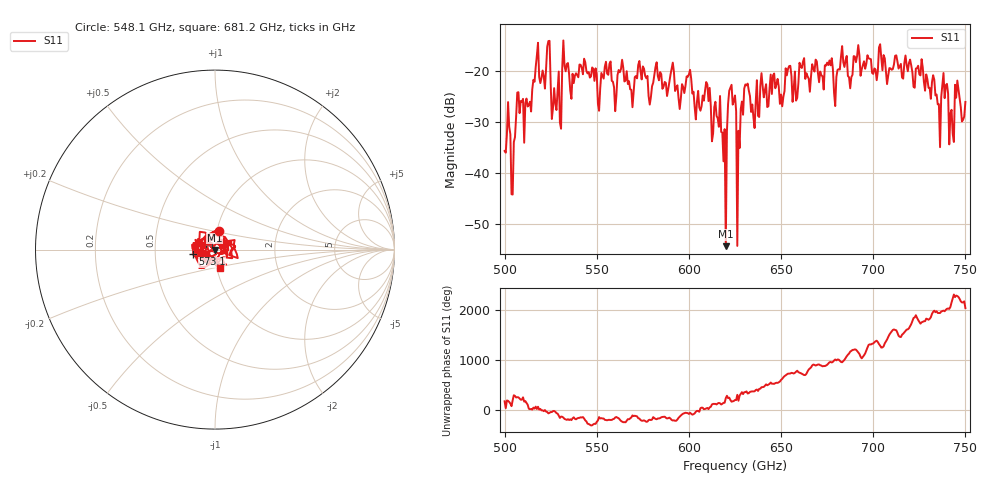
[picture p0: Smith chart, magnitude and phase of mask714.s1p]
!Created with skrf (http://scikit-rf.org).
# GHz S MA R 50.0
!freq magS11 angS11
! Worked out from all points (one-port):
!   401 points, 500 GHz to 750 GHz, reference 50 ohm
!   lowest |S11| = -54.5 dB at 620 GHz (marker M1), VSWR 1.00, Z = 49.9 - j0.16 ohm
!   |S11| at or under -10 dB: start of sweep to end of sweep
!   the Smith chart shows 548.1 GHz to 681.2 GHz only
!   S11 on the Smith chart (normalised r, x): 548.1 GHz: 1.03, +0.21; 573.1 GHz: 0.78, -0.04; 681.2 GHz: 1.04, -0.21
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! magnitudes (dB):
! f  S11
! 500 GHz  -35.7
! 504.4 GHz  -44.3
! 507.5 GHz  -24.1
! 511.9 GHz  -25.4
! 516.9 GHz  -19.1
! 523.8 GHz  -14.0
! 526.9 GHz  -23.3
! 531.2 GHz  -19.4
! 548.1 GHz  -19.5
! 562.5 GHz  -20.2
! 573.1 GHz  -17.9
! 593.8 GHz  -22.7
! 610 GHz  -22.6
! 620 GHz  -54.5
! 622.5 GHz  -23.2
! 625 GHz  -24.7
! 627.5 GHz  -35.1
! 631.2 GHz  -22.7
! 635 GHz  -29.0
! 656.2 GHz  -26.0
! 681.2 GHz  -19.6
! 687.5 GHz  -23.3
! 718.8 GHz  -20.0
! 735 GHz  -26.5
! 738.8 GHz  -25.3
! 742.5 GHz  -27.6
! 745.6 GHz  -21.8
! 750 GHz  -26.0
